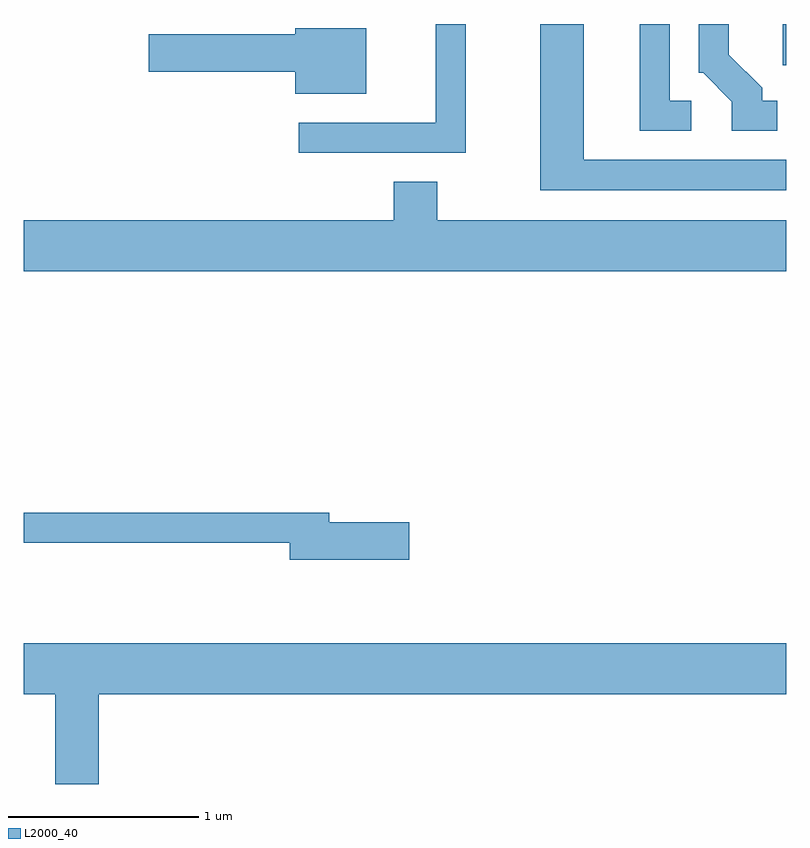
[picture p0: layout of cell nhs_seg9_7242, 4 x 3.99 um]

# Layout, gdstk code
import gdstk
lib = gdstk.Library(unit=1e-6, precision=1e-09)
def R(c, l, rs):  # rectangles x0, y0, x1, y1
    for r in rs: c.add(gdstk.rectangle(r[:2], r[2:], *l))
def P(c, l, *ps):  # polygons
    for p in ps: c.add(gdstk.Polygon(p, *l))
L2000_40 = (2000, 40)

nhs_seg9_7242 = lib.new_cell('nhs_seg9_7242')
R(nhs_seg9_7242, L2000_40, [(403.591,2006.216,403.611,2006.432)])
P(nhs_seg9_7242, L2000_40, [(401.929,2006.432),(401.771,2006.432),(401.771,2005.914),(401.053,2005.914),(401.053,2005.756),(401.929,2005.756)],
  [(403.113,2006.029),(402.999,2006.029),(402.999,2006.432),(402.841,2006.432),(402.841,2005.871),(403.113,2005.871)],
  [(403.563,2006.029),(403.484,2006.029),(403.484,2006.097),(403.309,2006.272),(403.309,2006.432),(403.151,2006.432),(403.151,2006.176),(403.174,2006.176),(403.326,2006.024),(403.326,2005.871),(403.563,2005.871)],
  [(403.611,2005.719),(402.549,2005.719),(402.549,2006.432),(402.321,2006.432),(402.321,2005.561),(403.611,2005.561)],
  [(401.409,2006.409),(401.036,2006.409),(401.036,2006.379),(400.266,2006.379),(400.266,2006.181),(401.036,2006.181),(401.036,2006.066),(401.409,2006.066)],
  [(403.611,2005.404),(401.779,2005.404),(401.779,2005.604),(401.551,2005.604),(401.551,2005.404),(399.611,2005.404),(399.611,2005.136),(403.611,2005.136)],
  [(401.634,2003.819),(401.214,2003.819),(401.214,2003.869),(399.611,2003.869),(399.611,2003.711),(401.006,2003.711),(401.006,2003.621),(401.634,2003.621)],
  [(400.004,2002.916),(403.611,2002.916),(403.611,2003.184),(399.611,2003.184),(399.611,2002.916),(399.776,2002.916),(399.776,2002.446),(400.004,2002.446)])

lib.write_gds('nhs_seg9_7242.gds')
